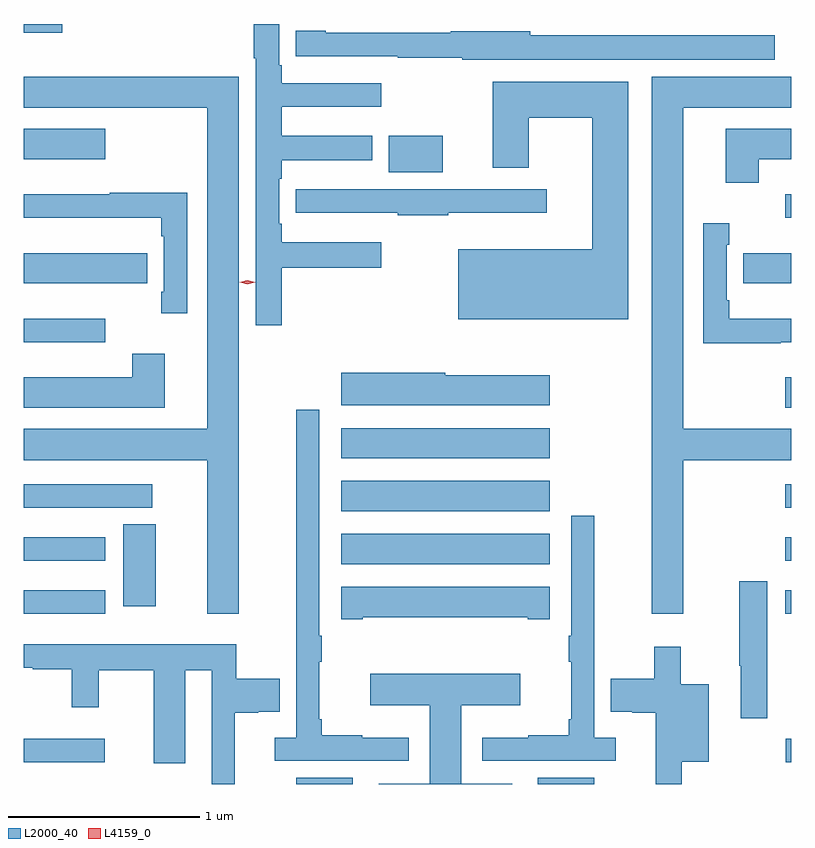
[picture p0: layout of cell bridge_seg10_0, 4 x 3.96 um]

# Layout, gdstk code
import gdstk
lib = gdstk.Library(unit=1e-6, precision=1e-09)
def R(c, l, rs):  # rectangles x0, y0, x1, y1
    for r in rs: c.add(gdstk.rectangle(r[:2], r[2:], *l))
def A(c, l, x, y, w, h, nx, ny, dx, dy):  # array of equal rectangles
    R(c, l, [(x+i*dx, y+j*dy, x+i*dx+w, y+j*dy+h) for i in range(nx) for j in range(ny)])
def P(c, l, *ps):  # polygons
    for p in ps: c.add(gdstk.Polygon(p, *l))
L2000_40 = (2000, 40)
L4159_0 = (4159, 0)

bridge_seg10_0 = lib.new_cell('bridge_seg10_0')
A(bridge_seg10_0, L2000_40, 1145.493, 1327.925, 0.03, 0.122, 1, 3, 0, 0.276)
A(bridge_seg10_0, L2000_40, 1143.177, 1328.183, 1.087, 0.158, 1, 3, 0, 0.276)
R(bridge_seg10_0, L2000_40, [(1142.942,1327.037,1143.238,1327.069), (1144.203,1327.037,1144.498,1327.069), (1141.523,1327.151,1141.945,1327.273), (1145.496,1327.151,1145.523,1327.273), (1141.523,1327.925,1141.948,1328.047), (1142.042,1327.965,1142.209,1328.392), (1141.523,1328.201,1141.948,1328.323), (1141.523,1328.477,1142.191,1328.599), (1145.493,1328.999,1145.523,1329.157), (1141.523,1329.341,1141.948,1329.463), (1141.523,1329.647,1142.167,1329.805), (1145.273,1329.647,1145.523,1329.805), (1145.493,1329.989,1145.523,1330.111), (1143.425,1330.226,1143.706,1330.417), (1141.523,1330.295,1141.948,1330.453), (1141.523,1330.955,1141.722,1331)])
P(bridge_seg10_0, L2000_40, [(1142.867,1329.728),(1143.385,1329.728),(1143.385,1329.862),(1142.867,1329.862),(1142.867,1329.958),(1142.854,1329.958),(1142.854,1330.193),(1142.867,1330.193),(1142.867,1330.289),(1143.34,1330.289),(1143.34,1330.417),(1142.867,1330.417),(1142.867,1330.568),(1143.385,1330.568),(1143.385,1330.69),(1142.867,1330.69),(1142.867,1330.786),(1142.854,1330.786),(1142.854,1331),(1142.72,1331),(1142.72,1330.822),(1142.732,1330.822),(1142.732,1329.429),(1142.867,1329.429)],
  [(1145.437,1330.942),(1144.164,1330.942),(1144.164,1330.962),(1143.748,1330.962),(1143.748,1330.954),(1143.096,1330.954),(1143.096,1330.966),(1142.939,1330.966),(1142.939,1330.832),(1143.472,1330.832),(1143.472,1330.825),(1143.809,1330.825),(1143.809,1330.814),(1145.437,1330.814)],
  [(1144.96,1328.726),(1145.523,1328.726),(1145.523,1328.89),(1144.96,1328.89),(1144.96,1330.562),(1145.523,1330.562),(1145.523,1330.726),(1144.796,1330.726),(1144.796,1327.926),(1144.96,1327.926)],
  [(1142.644,1330.726),(1141.523,1330.726),(1141.523,1330.562),(1142.48,1330.562),(1142.48,1328.89),(1141.523,1328.89),(1141.523,1328.726),(1142.48,1328.726),(1142.48,1327.926),(1142.644,1327.926)],
  [(1144.675,1330.699),(1143.968,1330.699),(1143.968,1330.25),(1144.156,1330.25),(1144.156,1330.511),(1144.487,1330.511),(1144.487,1329.826),(1143.788,1329.826),(1143.788,1329.461),(1144.675,1329.461)],
  [(1145.354,1330.295),(1145.523,1330.295),(1145.523,1330.453),(1145.183,1330.453),(1145.183,1330.173),(1145.354,1330.173)],
  [(1143.736,1330.016),(1144.249,1330.016),(1144.249,1330.138),(1142.939,1330.138),(1142.939,1330.016),(1143.472,1330.016),(1143.472,1330.004),(1143.736,1330.004)],
  [(1142.374,1330.119),(1141.97,1330.119),(1141.97,1330.111),(1141.523,1330.111),(1141.523,1329.989),(1142.24,1329.989),(1142.24,1329.893),(1142.252,1329.893),(1142.252,1329.604),(1142.24,1329.604),(1142.24,1329.492),(1142.374,1329.492)],
  [(1145.47,1329.341),(1145.523,1329.341),(1145.523,1329.463),(1145.201,1329.463),(1145.201,1329.559),(1145.188,1329.559),(1145.188,1329.848),(1145.2,1329.848),(1145.2,1329.961),(1145.066,1329.961),(1145.066,1329.334),(1145.47,1329.334)],
  [(1142.257,1329.28),(1142.087,1329.28),(1142.087,1329.157),(1141.523,1329.157),(1141.523,1328.999),(1142.257,1328.999)],
  [(1144.264,1329.169),(1143.72,1329.169),(1143.72,1329.182),(1143.177,1329.182),(1143.177,1329.011),(1144.264,1329.011)],
  [(1143.529,1327.279),(1143.288,1327.279),(1143.288,1327.292),(1143.077,1327.292),(1143.077,1327.375),(1143.064,1327.375),(1143.064,1327.675),(1143.077,1327.675),(1143.077,1327.811),(1143.064,1327.811),(1143.064,1328.989),(1142.942,1328.989),(1142.942,1327.279),(1142.832,1327.279),(1142.832,1327.157),(1143.529,1327.157)],
  [(1144.609,1327.279),(1144.498,1327.279),(1144.498,1328.437),(1144.376,1328.437),(1144.376,1327.811),(1144.364,1327.811),(1144.364,1327.675),(1144.376,1327.675),(1144.376,1327.375),(1144.364,1327.375),(1144.364,1327.292),(1144.152,1327.292),(1144.152,1327.279),(1143.912,1327.279),(1143.912,1327.157),(1144.609,1327.157)],
  [(1145.398,1328.095),(1145.254,1328.095),(1145.254,1327.654),(1145.261,1327.654),(1145.261,1327.38),(1145.398,1327.38)],
  [(1143.289,1327.907),(1144.151,1327.907),(1144.151,1327.895),(1144.264,1327.895),(1144.264,1328.065),(1143.177,1328.065),(1143.177,1327.895),(1143.289,1327.895)],
  [(1142.623,1327.408),(1142.744,1327.408),(1142.744,1327.415),(1142.857,1327.415),(1142.857,1327.586),(1142.631,1327.586),(1142.631,1327.765),(1141.523,1327.765),(1141.523,1327.643),(1141.57,1327.643),(1141.57,1327.636),(1141.772,1327.636),(1141.772,1327.437),(1141.912,1327.437),(1141.912,1327.631),(1142.201,1327.631),(1142.201,1327.146),(1142.365,1327.146),(1142.365,1327.631),(1142.501,1327.631),(1142.501,1327.037),(1142.623,1327.037)],
  [(1144.952,1327.154),(1145.095,1327.154),(1145.095,1327.558),(1144.947,1327.558),(1144.947,1327.753),(1144.81,1327.753),(1144.81,1327.586),(1144.583,1327.586),(1144.583,1327.415),(1144.696,1327.415),(1144.696,1327.408),(1144.817,1327.408),(1144.817,1327.037),(1144.952,1327.037)],
  [(1144.069,1327.039),(1143.802,1327.039),(1143.802,1327.448),(1144.111,1327.448),(1144.111,1327.612),(1143.33,1327.612),(1143.33,1327.448),(1143.638,1327.448),(1143.638,1327.039),(1143.372,1327.039),(1143.372,1327.037),(1144.069,1327.037)])
P(bridge_seg10_0, L4159_0, [(1142.688,1329.643),(1142.648,1329.653),(1142.648,1329.653),(1142.648,1329.654),(1142.688,1329.663),(1142.728,1329.654),(1142.729,1329.653),(1142.728,1329.653)])

lib.write_gds('bridge_seg10_0.gds')
